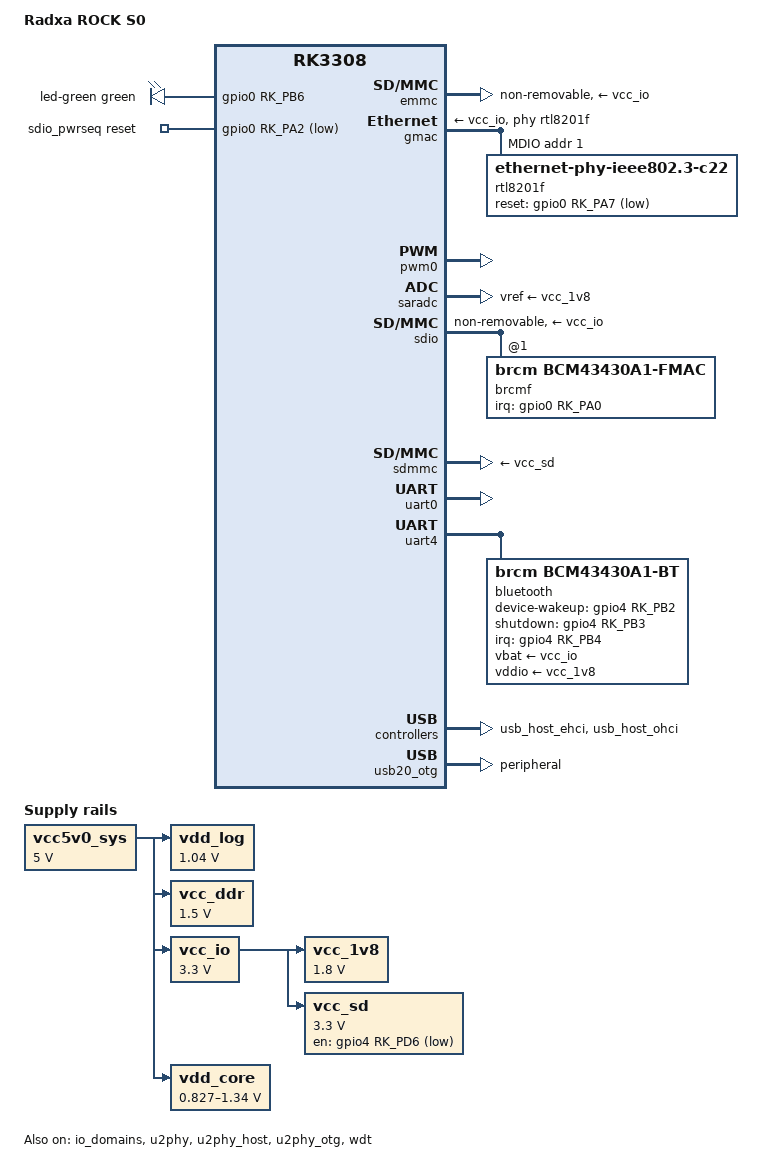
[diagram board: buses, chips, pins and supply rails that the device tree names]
// SPDX-License-Identifier: (GPL-2.0+ OR MIT)

/dts-v1/;

#include <dt-bindings/leds/common.h>
#include "rk3308.dtsi"

/ {
	model = "Radxa ROCK S0";
	compatible = "radxa,rock-s0", "rockchip,rk3308";

	aliases {
		ethernet0 = &gmac;
		mmc0 = &emmc;
		mmc1 = &sdmmc;
		mmc2 = &sdio;
	};

	chosen {
		stdout-path = "serial0:1500000n8";
	};

	leds {
		compatible = "gpio-leds";
		pinctrl-names = "default";
		pinctrl-0 = <&pwr_led>;

		led-green {
			color = <LED_COLOR_ID_GREEN>;
			default-state = "on";
			function = LED_FUNCTION_HEARTBEAT;
			gpios = <&gpio0 RK_PB6 GPIO_ACTIVE_HIGH>;
			linux,default-trigger = "heartbeat";
		};
	};

	vdd_log: regulator-1v04-vdd-log {
		compatible = "regulator-fixed";
		regulator-name = "vdd_log";
		regulator-always-on;
		regulator-boot-on;
		regulator-min-microvolt = <1040000>;
		regulator-max-microvolt = <1040000>;
		vin-supply = <&vcc5v0_sys>;
	};

	vcc_ddr: regulator-1v5-vcc-ddr {
		compatible = "regulator-fixed";
		regulator-name = "vcc_ddr";
		regulator-always-on;
		regulator-boot-on;
		regulator-min-microvolt = <1500000>;
		regulator-max-microvolt = <1500000>;
		vin-supply = <&vcc5v0_sys>;
	};

	vcc_1v8: regulator-1v8-vcc {
		compatible = "regulator-fixed";
		regulator-name = "vcc_1v8";
		regulator-always-on;
		regulator-boot-on;
		regulator-min-microvolt = <1800000>;
		regulator-max-microvolt = <1800000>;
		vin-supply = <&vcc_io>;
	};

	vcc_io: regulator-3v3-vcc-io {
		compatible = "regulator-fixed";
		regulator-name = "vcc_io";
		regulator-always-on;
		regulator-boot-on;
		regulator-min-microvolt = <3300000>;
		regulator-max-microvolt = <3300000>;
		vin-supply = <&vcc5v0_sys>;
	};

	/*
	 * HW revision prior to v1.2 must pull GPIO4_D6 low to access sdmmc.
	 * This is modeled as an always-on active low fixed regulator.
	 */
	vcc_sd: regulator-3v3-vcc-sd {
		compatible = "regulator-fixed";
		gpios = <&gpio4 RK_PD6 GPIO_ACTIVE_LOW>;
		pinctrl-names = "default";
		pinctrl-0 = <&sdmmc_2030>;
		regulator-name = "vcc_sd";
		regulator-always-on;
		regulator-boot-on;
		regulator-min-microvolt = <3300000>;
		regulator-max-microvolt = <3300000>;
		vin-supply = <&vcc_io>;
	};

	vcc5v0_sys: regulator-5v0-vcc-sys {
		compatible = "regulator-fixed";
		regulator-name = "vcc5v0_sys";
		regulator-always-on;
		regulator-boot-on;
		regulator-min-microvolt = <5000000>;
		regulator-max-microvolt = <5000000>;
	};

	vdd_core: regulator-vdd-core {
		compatible = "pwm-regulator";
		pwms = <&pwm0 0 5000 1>;
		pwm-supply = <&vcc5v0_sys>;
		regulator-name = "vdd_core";
		regulator-always-on;
		regulator-boot-on;
		regulator-min-microvolt = <827000>;
		regulator-max-microvolt = <1340000>;
		regulator-settling-time-up-us = <250>;
	};

	sdio_pwrseq: sdio-pwrseq {
		compatible = "mmc-pwrseq-simple";
		pinctrl-names = "default";
		pinctrl-0 = <&wifi_reg_on>;
		reset-gpios = <&gpio0 RK_PA2 GPIO_ACTIVE_LOW>;
	};
};

&cpu0 {
	cpu-supply = <&vdd_core>;
};

&emmc {
	cap-mmc-highspeed;
	no-sd;
	no-sdio;
	non-removable;
	pinctrl-names = "default";
	pinctrl-0 = <&emmc_bus8 &emmc_clk &emmc_cmd &emmc_pwren>;
	vmmc-supply = <&vcc_io>;
	status = "okay";
};

&gmac {
	clock_in_out = "output";
	phy-handle = <&rtl8201f>;
	phy-supply = <&vcc_io>;
	status = "okay";

	mdio {
		compatible = "snps,dwmac-mdio";
		#address-cells = <1>;
		#size-cells = <0>;

		rtl8201f: ethernet-phy@1 {
			compatible = "ethernet-phy-ieee802.3-c22";
			reg = <1>;
			pinctrl-names = "default";
			pinctrl-0 = <&mac_rst>;
			reset-assert-us = <20000>;
			reset-deassert-us = <50000>;
			reset-gpios = <&gpio0 RK_PA7 GPIO_ACTIVE_LOW>;
		};
	};
};

&io_domains {
	vccio0-supply = <&vcc_io>;
	vccio1-supply = <&vcc_io>;
	vccio2-supply = <&vcc_io>;
	vccio3-supply = <&vcc_io>;
	vccio4-supply = <&vcc_1v8>;
	vccio5-supply = <&vcc_io>;
	status = "okay";
};

&pinctrl {
	pinctrl-names = "default";
	pinctrl-0 = <&rtc_32k>;

	bluetooth {
		bt_reg_on: bt-reg-on {
			rockchip,pins = <4 RK_PB3 RK_FUNC_GPIO &pcfg_pull_none>;
		};

		bt_wake_host: bt-wake-host {
			rockchip,pins = <4 RK_PB4 RK_FUNC_GPIO &pcfg_pull_down>;
		};

		host_wake_bt: host-wake-bt {
			rockchip,pins = <4 RK_PB2 RK_FUNC_GPIO &pcfg_pull_none>;
		};
	};

	gmac {
		mac_rst: mac-rst {
			rockchip,pins = <0 RK_PA7 RK_FUNC_GPIO &pcfg_pull_none>;
		};
	};

	leds {
		pwr_led: pwr-led {
			rockchip,pins = <0 RK_PB6 RK_FUNC_GPIO &pcfg_pull_none>;
		};
	};

	sdmmc {
		sdmmc_2030: sdmmc-2030 {
			rockchip,pins = <4 RK_PD6 RK_FUNC_GPIO &pcfg_pull_none>;
		};
	};

	wifi {
		wifi_reg_on: wifi-reg-on {
			rockchip,pins = <0 RK_PA2 RK_FUNC_GPIO &pcfg_pull_none>;
		};

		wifi_wake_host: wifi-wake-host {
			rockchip,pins = <0 RK_PA0 RK_FUNC_GPIO &pcfg_pull_down>;
		};
	};
};

&pwm0 {
	pinctrl-names = "default";
	pinctrl-0 = <&pwm0_pin_pull_down>;
	status = "okay";
};

&saradc {
	vref-supply = <&vcc_1v8>;
	status = "okay";
};

&sdio {
	#address-cells = <1>;
	#size-cells = <0>;
	cap-sd-highspeed;
	cap-sdio-irq;
	keep-power-in-suspend;
	max-frequency = <50000000>;
	mmc-pwrseq = <&sdio_pwrseq>;
	no-mmc;
	no-sd;
	non-removable;
	vmmc-supply = <&vcc_io>;
	vqmmc-supply = <&vcc_1v8>;
	status = "okay";

	brcmf: wifi@1 {
		compatible = "brcm,bcm43430a1-fmac", "brcm,bcm4329-fmac";
		reg = <1>;
		interrupt-parent = <&gpio0>;
		interrupts = <RK_PA0 IRQ_TYPE_LEVEL_HIGH>;
		interrupt-names = "host-wake";
		pinctrl-names = "default";
		pinctrl-0 = <&wifi_wake_host>;
	};
};

&sdmmc {
	cap-mmc-highspeed;
	cap-sd-highspeed;
	disable-wp;
	vmmc-supply = <&vcc_sd>;
	status = "okay";
};

&u2phy {
	status = "okay";
};

&u2phy_host {
	status = "okay";
};

&u2phy_otg {
	status = "okay";
};

&uart0 {
	pinctrl-names = "default";
	pinctrl-0 = <&uart0_xfer>;
	status = "okay";
};

&uart4 {
	uart-has-rtscts;
	status = "okay";

	bluetooth {
		compatible = "brcm,bcm43430a1-bt";
		clocks = <&cru SCLK_RTC32K>;
		clock-names = "lpo";
		interrupt-parent = <&gpio4>;
		interrupts = <RK_PB4 IRQ_TYPE_LEVEL_HIGH>;
		interrupt-names = "host-wakeup";
		device-wakeup-gpios = <&gpio4 RK_PB2 GPIO_ACTIVE_HIGH>;
		shutdown-gpios = <&gpio4 RK_PB3 GPIO_ACTIVE_HIGH>;
		pinctrl-names = "default";
		pinctrl-0 = <&bt_reg_on &bt_wake_host &host_wake_bt>;
		vbat-supply = <&vcc_io>;
		vddio-supply = <&vcc_1v8>;
	};
};

&usb_host_ehci {
	status = "okay";
};

&usb_host_ohci {
	status = "okay";
};

&usb20_otg {
	dr_mode = "peripheral";
	status = "okay";
};

&wdt {
	status = "okay";
};
